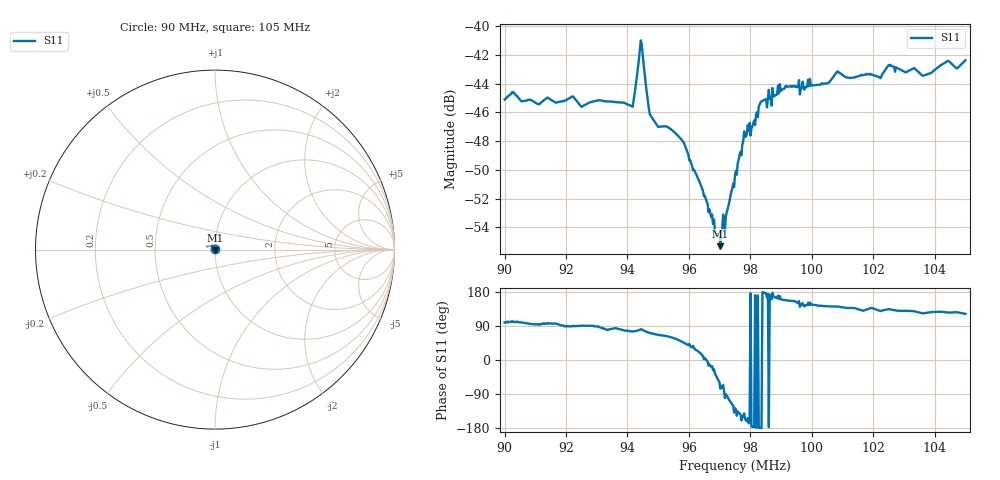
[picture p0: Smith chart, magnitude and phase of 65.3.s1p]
# HZ S RI R 50
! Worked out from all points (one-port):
!   505 points, 90 MHz to 105 MHz, reference 50 ohm
!   lowest |S11| = -55.3 dB at 97.02 MHz (marker M1), VSWR 1.00, Z = 50 - j0.167 ohm
!   |S11| at or under -10 dB: start of sweep to end of sweep
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9e7  -0.000854 0.00549
9.026786e7  -0.00112 0.00579
9.107143e7  -0.000358 0.00535
9.187501e7  -8.05e-05 0.00548
9.375001e7  0.000828 0.00537
9.416668e7  0.00134 0.00507
9.443454e7  0.00138 0.00881
9.449406e7  0.0015 0.00784
9.467263e7  0.00162 0.00515
9.476192e7  0.00162 0.00459
9.562502e7  0.00245 0.00338
9.586311e7  0.00277 0.0027
9.690478e7  0.00135 -0.00133
9.702383e7  0.00042 -0.00166
9.750002e7  -0.00182 -0.00241
9.785717e7  -0.00387 -0.00146
9.80655e7  -0.00448 -0.000286
9.833336e7  -0.00544 -6.32e-05
9.937503e7  -0.0056 0.00256
1.00506e8  -0.00497 0.00394
1.008334e8  -0.00543 0.00436
1.0125e8  -0.00485 0.0045
1.022024e8  -0.00429 0.00508
1.025298e8  -0.00505 0.00527
1.03125e8  -0.00445 0.00537
1.036608e8  -0.00374 0.00561
1.044048e8  -0.00436 0.00615
1.05e8  -0.00401 0.00647
